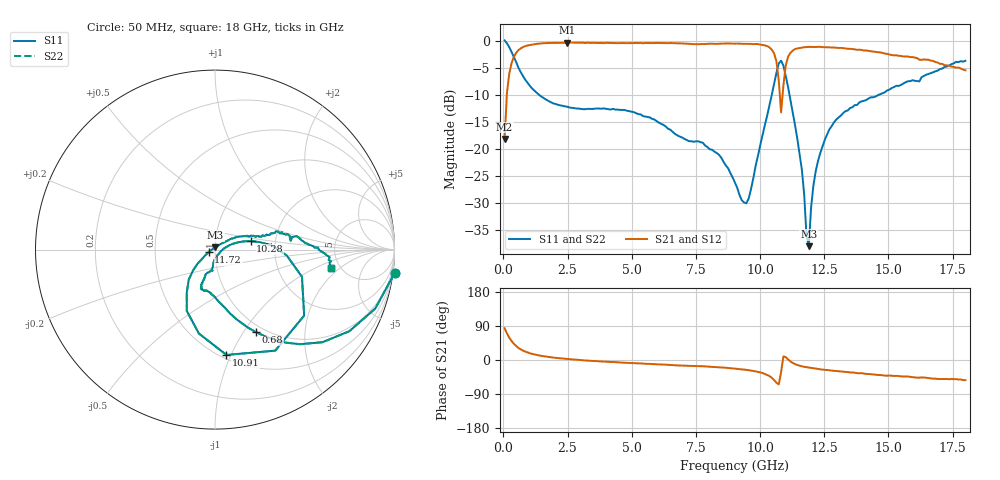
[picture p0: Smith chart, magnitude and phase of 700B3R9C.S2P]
!  American Technical Ceramics  Date:  3/13/98
!  One Norden Lane
!  Huntington Station,  NY.  11746-2102
!  Tel:  (516) 547-5700  Fax:  (516) 547-5748
!  Part Number  700B3R9C
!  Description: Porcelain, High Q, Low ESR
!  Application: Bypass, Coupling, Timing, Feedback
!  Tuning, Impedance Match, Blocking
# GHZ S DB R 50
! Freq  |S11|  S11 Ph  |S21|  S21 Ph  |S12|  S12 Ph  |S22|  S22 Ph
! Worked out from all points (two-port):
!   201 points, 50 MHz to 18 GHz, reference 50 ohm
!   highest |S21| = -0.31 dB at 2.47 GHz (marker M1); lowest = -18.2 dB at 50 MHz (marker M2)
!   |S21| within 3 dB of the highest: 383.1 MHz to 10.61 GHz (10.23 GHz wide, 186 % of centre); 11.07 GHz to 16.16 GHz (5.085 GHz wide, 37.3 % of centre)
!   lowest |S11| = -38.0 dB at 11.9 GHz (marker M3), VSWR 1.03, Z = 50.2 + j1.24 ohm
!   |S11| at or under -10 dB: 1.398 GHz to 10.46 GHz (9.06 GHz wide, 153 % of centre); 11.15 GHz to 14.62 GHz (3.468 GHz wide, 26.9 % of centre)
!   |S22| runs from -38.0 to 0.1 dB; largest |S21 - S12| = 0
!   S11 on the Smith chart (normalised r, x): 50 MHz: -1, -15; 680 MHz: 0.91, -1.14; 10.28 GHz: 1.49, +0.15; 10.91 GHz: 0.53, -0.96; 11.72 GHz: 0.93, -0.03; 18 GHz: 4.24, -1.48
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0.05  0.08 -7.4  -18.18 83.8  -18.18 83.8  0.08 -7.4
0.23  -1.15 -31.2  -6.11 59.2  -6.11 59.2  -1.15 -31.2
0.68  -5.80 -63.7  -1.38 27.9  -1.38 27.9  -5.80 -63.7
2.47  -12.17 -95.7  -0.31 2.6  -0.31 2.6  -12.17 -95.7
3.1  -12.64 -101.2  -0.33 -0.6  -0.33 -0.6  -12.64 -101.2
6.06  -15.14 -110.0  -0.39 -11.6  -0.39 -11.6  -15.14 -110.0
8.31  -20.75 -96.6  -0.55 -18.7  -0.55 -18.7  -20.75 -96.6
9.03  -26.35 -86.2  -0.51 -22.7  -0.51 -22.7  -26.35 -86.2
9.47  -30.07 -32.6  -0.55 -26.1  -0.55 -26.1  -30.07 -32.6
10.28  -13.80 13.5  -0.96 -39.6  -0.96 -39.6  -13.80 13.5
10.55  -7.94 -4.6  -2.33 -53.0  -2.33 -53.0  -7.94 -4.6
10.73  -4.18 -36.5  -7.34 -64.4  -7.34 -64.4  -4.18 -36.5
10.82  -3.67 -59.2  -13.25 -32.0  -13.25 -32.0  -3.67 -59.2
10.91  -4.58 -83.8  -8.29 9.4  -8.29 9.4  -4.58 -83.8
11.18  -10.82 -123.2  -2.23 -3.5  -2.23 -3.5  -10.82 -123.2
11.72  -28.44 -157.8  -1.18 -18.0  -1.18 -18.0  -28.44 -157.8
11.81  -36.03 175.5  -1.15 -18.9  -1.15 -18.9  -36.03 175.5
11.9  -38.01 77.9  -1.11 -20.1  -1.11 -20.1  -38.01 77.9
12.08  -26.75 44.2  -1.12 -21.9  -1.12 -21.9  -26.75 44.2
12.88  -15.09 25.2  -1.23 -28.7  -1.23 -28.7  -15.09 25.2
15.04  -9.02 16.8  -2.52 -41.2  -2.52 -41.2  -9.02 16.8
18  -3.69 -8.8  -5.44 -53.2  -5.44 -53.2  -3.69 -8.8
